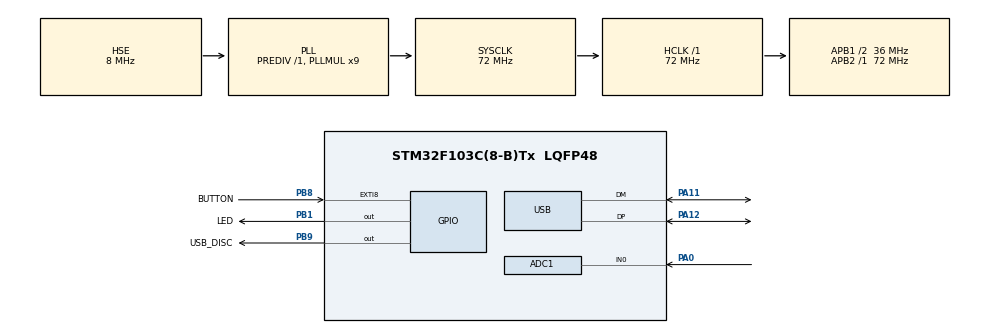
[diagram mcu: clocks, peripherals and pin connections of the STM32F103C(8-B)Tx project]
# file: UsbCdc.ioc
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ADC1.Channel=ADC_CHANNEL_TEMPSENSOR
ADC1.Channel-0\#ChannelRegularConversion=ADC_CHANNEL_0
ADC1.Channel-2\#ChannelRegularConversion=ADC_CHANNEL_VREFINT
ADC1.DiscontinuousConvMode=ENABLE
ADC1.NbrOfConversion=3
ADC1.NbrOfConversionFlag=1
ADC1.Rank-1\#ChannelRegularConversion=2
ADC1.Rank-2\#ChannelRegularConversion=3
ADC1.SamplingTime-0\#ChannelRegularConversion=ADC_SAMPLETIME_239CYCLES_5
ADC1.SamplingTime-1\#ChannelRegularConversion=ADC_SAMPLETIME_239CYCLES_5
ADC1.SamplingTime-2\#ChannelRegularConversion=ADC_SAMPLETIME_239CYCLES_5
ADC1.master=1
Dma.ADC1.0.Direction=DMA_PERIPH_TO_MEMORY
Dma.ADC1.0.Instance=DMA1_Channel1
Dma.ADC1.0.MemDataAlignment=DMA_MDATAALIGN_HALFWORD
Dma.ADC1.0.MemInc=DMA_MINC_ENABLE
Dma.ADC1.0.Mode=DMA_CIRCULAR
Dma.ADC1.0.PeriphDataAlignment=DMA_PDATAALIGN_HALFWORD
Dma.ADC1.0.PeriphInc=DMA_PINC_DISABLE
Dma.ADC1.0.Priority=DMA_PRIORITY_LOW
Dma.Request0=ADC1
Mcu.Family=STM32F1
Mcu.Name=STM32F103C(8-B)Tx
Mcu.Package=LQFP48
NVIC.ADC1_2_IRQn=true\:0\:0\:false
NVIC.DMA1_Channel1_IRQn=true\:0\:0\:false
NVIC.PriorityGroup=NVIC_PRIORITYGROUP_4
NVIC.USB_LP_CAN1_RX0_IRQn=true\:0\:0\:false
PA0-WKUP.Signal=ADCx_IN0
PA11.Mode=Device
PA11.Signal=USB_DM
PA12.Mode=Device
PA12.Signal=USB_DP
PA13.Mode=Serial_Wire
PA13.Signal=SYS_JTMS-SWDIO
PA14.Mode=Serial_Wire
PA14.Signal=SYS_JTCK-SWCLK
PB1.GPIO_Label=LED
PB1.GPIO_ModeDefaultOutputPP=GPIO_MODE_OUTPUT_PP
PB1.GPIO_Speed=GPIO_SPEED_LOW
PB1.Signal=GPIO_Output
PB8.GPIO_Label=BUTTON
PB8.GPIO_ModeDefaultEXTI=GPIO_MODE_IT_RISING_FALLING
PB8.GPIO_PuPd=GPIO_NOPULL
PB8.Signal=GPXTI8
PB9.GPIO_Label=USB_DISC
PB9.GPIO_ModeDefaultOutputPP=GPIO_MODE_OUTPUT_PP
PB9.GPIO_Speed=GPIO_SPEED_LOW
PB9.Signal=GPIO_Output
PD0-OSC_IN.Mode=HSE-External-Oscillator
PD0-OSC_IN.Signal=RCC_OSC_IN
PD1-OSC_OUT.Mode=HSE-External-Oscillator
PD1-OSC_OUT.Signal=RCC_OSC_OUT
ProjectManager.TargetToolchain=EWARM 6.70
RCC.ADCPresc=RCC_ADCPCLK2_DIV6
RCC.AHBFreq_Value=72000000
RCC.APB1CLKDivider=RCC_HCLK_DIV2
RCC.APB1Freq_Value=36000000
RCC.APB1TimFreq_Value=72000000
RCC.APB2Freq_Value=72000000
RCC.APB2TimFreq_Value=72000000
RCC.HCLKFreq_Value=72000000
RCC.HSIState=RCC_HSI_ON
RCC.PLLMUL=RCC_PLL_MUL9
RCC.SYSCLKFreq_VALUE=72000000
RCC.SYSCLKSource=RCC_SYSCLKSOURCE_PLLCLK
RCC.USBFreq_Value=48000000
RCC.USBPrescaler=RCC_USBPLLCLK_DIV1_5
SH.ADCx_IN0.0=ADC1_IN0,IN0
USB_DEVICE.CLASS_NAME-CDC_FS=CDC
USB_DEVICE.USBD_HandleTypeDef-CDC_FS=hUsbDeviceFS
USB_DEVICE.VirtualMode-CDC_FS=Cdc
USB_DEVICE.VirtualModeFS-CDC_FS=Cdc_FS
VP_ADC1_TempSens_Input.Mode=IN-TempSens
VP_ADC1_Vref_Input.Mode=IN-Vrefint
VP_USB_DEVICE_VS_USB_DEVICE_CDC_FS.Mode=CDC_FS

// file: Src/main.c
/**
  ******************************************************************************
  * File Name          : main.c
  * Date               : 14/03/2015 08:37:20
  * Description        : Main program body
  ******************************************************************************
  *
  * COPYRIGHT(c) 2015 STMicroelectronics
  *
  * Redistribution and use in source and binary forms, with or without modification,
  * are permitted provided that the following conditions are met:
  *   1. Redistributions of source code must retain the above copyright notice,
  *      this list of conditions and the following disclaimer.
  *   2. Redistributions in binary form must reproduce the above copyright notice,
  *      this list of conditions and the following disclaimer in the documentation
  *      and/or other materials provided with the distribution.
  *   3. Neither the name of STMicroelectronics nor the names of its contributors
  *      may be used to endorse or promote products derived from this software
  *      without specific prior written permission.
  *
  * THIS SOFTWARE IS PROVIDED BY THE COPYRIGHT HOLDERS AND CONTRIBUTORS "AS IS"
  * AND ANY EXPRESS OR IMPLIED WARRANTIES, INCLUDING, BUT NOT LIMITED TO, THE
  * IMPLIED WARRANTIES OF MERCHANTABILITY AND FITNESS FOR A PARTICULAR PURPOSE ARE
  * DISCLAIMED. IN NO EVENT SHALL THE COPYRIGHT HOLDER OR CONTRIBUTORS BE LIABLE
  * FOR ANY DIRECT, INDIRECT, INCIDENTAL, SPECIAL, EXEMPLARY, OR CONSEQUENTIAL
  * DAMAGES (INCLUDING, BUT NOT LIMITED TO, PROCUREMENT OF SUBSTITUTE GOODS OR
  * SERVICES; LOSS OF USE, DATA, OR PROFITS; OR BUSINESS INTERRUPTION) HOWEVER
  * CAUSED AND ON ANY THEORY OF LIABILITY, WHETHER IN CONTRACT, STRICT LIABILITY,
  * OR TORT (INCLUDING NEGLIGENCE OR OTHERWISE) ARISING IN ANY WAY OUT OF THE USE
  * OF THIS SOFTWARE, EVEN IF ADVISED OF THE POSSIBILITY OF SUCH DAMAGE.
  *
  ******************************************************************************
  */

#include "stm32f1xx_hal.h"
#include "usb_device.h"

/* USER CODE BEGIN Includes */
#include "RingBuffer.h"
#include "main.h"
#include "MasterPacketProc.h"

/* Private typedef -----------------------------------------------------------*/
/* Private define ------------------------------------------------------------*/
#define VDD_APPLI                      ((uint32_t) 3300)   /* Value of analog voltage supply Vdda (unit: mV) */
#define RANGE_12BITS                   ((uint32_t) 4095)   /* Max value with a full range of 12 bits */
#define USERBUTTON_CLICK_COUNT_MAX     ((uint32_t)    4)   /* Maximum value of variable "UserButtonClickCount" */

#define ADCCONVERTEDVALUES_BUFFER_SIZE ((uint32_t)    3)   /* Size of array containing ADC converted values: set to ADC sequencer number of ranks converted, to have a rank in each address */

/* Internal temperature sensor: constants data used for indicative values in  */
/* this example. Refer to device datasheet for min/typ/max values.            */
/* For more accurate values, device should be calibrated on offset and slope  */
/* for application temperature range.                                         */
#define INTERNAL_TEMPSENSOR_V25        ((int32_t)1430)         /* Internal temperature sensor, parameter V25 (unit: mV). Refer to device datasheet for min/typ/max values. */
#define INTERNAL_TEMPSENSOR_AVGSLOPE   ((int32_t)4300)         /* Internal temperature sensor, parameter Avg_Slope (unit: uV/DegCelsius). Refer to device datasheet for min/typ/max values. */                                                               /* This calibration parameter is intended to calculate the actual VDDA from Vrefint ADC measurement. */

/* Private macro -------------------------------------------------------------*/

/**
  * @brief  Computation of temperature (unit: degree Celsius) from the internal
  *         temperature sensor measurement by ADC.
  *         Computation is using temperature sensor standard parameters (refer
  *         to device datasheet).
  *         Computation formula:
  *         Temperature = (VTS - V25)/Avg_Slope + 25
  *         with VTS = temperature sensor voltage
  *              Avg_Slope = temperature sensor slope (unit: uV/DegCelsius)
  *              V25 = temperature sensor @25degC and Vdda 3.3V (unit: mV)
  *         Calculation validity conditioned to settings:
  *          - ADC resolution 12 bits (need to scale value if using a different
  *            resolution).
  *          - Power supply of analog voltage Vdda 3.3V (need to scale value
  *            if using a different analog voltage supply value).
  * @param TS_ADC_DATA: Temperature sensor digital value measured by ADC
  * @retval None
  */
#define COMPUTATION_TEMPERATURE_STD_PARAMS(TS_ADC_DATA)                        \
  ((((int32_t)(INTERNAL_TEMPSENSOR_V25 - (((TS_ADC_DATA) * VDD_APPLI) / RANGE_12BITS)   \
     ) * 1000                                                                  \
    ) / INTERNAL_TEMPSENSOR_AVGSLOPE                                           \
   ) + 25                                                                      \
  )

/**
  * @brief  Computation of voltage (unit: mV) from ADC measurement digital
  *         value on range 12 bits.
  *         Calculation validity conditioned to settings:
  *          - ADC resolution 12 bits (need to scale value if using a different
  *            resolution).
  *          - Power supply of analog voltage Vdda 3.3V (need to scale value
  *            if using a different analog voltage supply value).
  * @param ADC_DATA: Digital value measured by ADC
  * @retval None
  */
#define COMPUTATION_DIGITAL_12BITS_TO_VOLTAGE(ADC_DATA)                        \
  ( (ADC_DATA) * VDD_APPLI / RANGE_12BITS)

/* USER CODE END Includes */

ADC_HandleTypeDef hadc1;
DMA_HandleTypeDef hdma_adc1;

/* USER CODE BEGIN PV */

uint32_t period = 250;

/* Variable containing ADC conversions results */
__IO uint16_t   aADCxConvertedValues[ADCCONVERTEDVALUES_BUFFER_SIZE];

/* Variables for ADC conversions results computation to physical values */
uint16_t   uhADCChannelToDAC_mVolt = 0;
uint16_t   uhVrefInt_mVolt = 0;
int32_t    wTemperature_DegreeCelsius = 0;

/* Variable to report ADC sequencer status */
uint8_t         ubSequenceCompleted = RESET;     /* Set when all ranks of the sequence have been converted */

RingBuffer_t usbRingBuffer;
uint8_t usbRx[UsbRxBufSize];

/* USER CODE END PV */

void SystemClock_Config(void);
static void MX_GPIO_Init(void);
static void MX_DMA_Init(void);
static void MX_ADC1_Init(void);

int main(void)
{

  /* USER CODE BEGIN 1 */
  RB_InitStatic(&usbRingBuffer, usbRx, UsbRxBufSize);

  /* USER CODE END 1 */

  /* MCU Configuration----------------------------------------------------------*/

  /* Reset of all peripherals, Initializes the Flash interface and the Systick. */
  HAL_Init();

  /* Configure the system clock */
  SystemClock_Config();

  /* Initialize all configured peripherals */
  MX_GPIO_Init();
  MX_DMA_Init();
  MX_ADC1_Init();
  MX_USB_DEVICE_Init();

  /* USER CODE BEGIN 2 */

  /* Run the ADC calibration */
  if (HAL_ADCEx_Calibration_Start(&hadc1) != HAL_OK)
  {
    /* Calibration Error */
//    User_Adc_Error_Handler();
  }

  /*## Start ADC conversions #################################################*/

  /* Start ADC conversion on regular group with transfer by DMA */
  if (HAL_ADC_Start_DMA(&hadc1,
                        (uint32_t *)aADCxConvertedValues,
                        ADCCONVERTEDVALUES_BUFFER_SIZE
                       ) != HAL_OK)
  {
    /* Start Error */
//    User_Adc_Error_Handler();
  }

  /* USER CODE END 2 */

  /* USER CODE BEGIN 3 */
  /* Infinite loop */
  while (1)
  {
    HAL_GPIO_TogglePin(GPIOB, GPIO_PIN_1);
    HAL_Delay(period);

    /* Start ADC conversion */
    /* Since sequencer is enabled in discontinuous mode, this will perform    */
    /* the conversion of the next rank in sequencer.                          */
    /* Note: For this example, conversion is triggered by software start,     */
    /*       therefore "HAL_ADC_Start()" must be called for each conversion.  */
    /*       Since DMA transfer has been initiated previously by function     */
    /*       "HAL_ADC_Start_DMA()", this function will keep DMA transfer      */
    /*       active.                                                          */
    HAL_ADC_Start(&hadc1);

    /* Wait for conversion completion before conditional check hereafter */
    HAL_ADC_PollForConversion(&hadc1, 1);

    /* Turn-on/off LED1 in function of ADC sequencer status */
    /* - Turn-off if sequencer has not yet converted all ranks */
    /* - Turn-on if sequencer has converted all ranks */
    if (ubSequenceCompleted != RESET)
    {
      /* Computation of ADC conversions raw data to physical values */
      /* Note: ADC results are transferred into array "aADCxConvertedValues"  */
      /*       in the order of their rank in ADC sequencer.                   */
      uhADCChannelToDAC_mVolt    = COMPUTATION_DIGITAL_12BITS_TO_VOLTAGE(aADCxConvertedValues[0]);
      uhVrefInt_mVolt            = COMPUTATION_DIGITAL_12BITS_TO_VOLTAGE(aADCxConvertedValues[2]);
      wTemperature_DegreeCelsius = COMPUTATION_TEMPERATURE_STD_PARAMS(aADCxConvertedValues[1]);

      (*(float*)&FC_Cache[0x40]) = uhADCChannelToDAC_mVolt;
      (*(float*)&FC_Cache[0x41]) = uhVrefInt_mVolt;
      (*(float*)&FC_Cache[0x42]) = wTemperature_DegreeCelsius;

      /* Reset variable for next loop iteration */
      ubSequenceCompleted = RESET;
    }

    UsbRxProc(&usbRingBuffer);
  }
  /* USER CODE END 3 */

}

/** System Clock Configuration
*/
void SystemClock_Config(void)
{

  RCC_OscInitTypeDef RCC_OscInitStruct;
  RCC_ClkInitTypeDef RCC_ClkInitStruct;
  RCC_PeriphCLKInitTypeDef PeriphClkInit;

  RCC_OscInitStruct.OscillatorType = RCC_OSCILLATORTYPE_HSE;
  RCC_OscInitStruct.HSEState = RCC_HSE_ON;
  RCC_OscInitStruct.HSEPredivValue = RCC_HSE_PREDIV_DIV1;
  RCC_OscInitStruct.PLL.PLLState = RCC_PLL_ON;
  RCC_OscInitStruct.PLL.PLLSource = RCC_PLLSOURCE_HSE;
  RCC_OscInitStruct.PLL.PLLMUL = RCC_PLL_MUL9;
  HAL_RCC_OscConfig(&RCC_OscInitStruct);

  RCC_ClkInitStruct.ClockType = RCC_CLOCKTYPE_SYSCLK|RCC_CLOCKTYPE_PCLK1;
  RCC_ClkInitStruct.SYSCLKSource = RCC_SYSCLKSOURCE_PLLCLK;
  RCC_ClkInitStruct.AHBCLKDivider = RCC_SYSCLK_DIV1;
  RCC_ClkInitStruct.APB1CLKDivider = RCC_HCLK_DIV2;
  RCC_ClkInitStruct.APB2CLKDivider = RCC_HCLK_DIV1;
  HAL_RCC_ClockConfig(&RCC_ClkInitStruct, FLASH_LATENCY_2);

  PeriphClkInit.PeriphClockSelection = RCC_PERIPHCLK_ADC|RCC_PERIPHCLK_USB;
  PeriphClkInit.AdcClockSelection = RCC_ADCPCLK2_DIV6;
  PeriphClkInit.UsbClockSelection = RCC_USBPLLCLK_DIV1_5;
  HAL_RCCEx_PeriphCLKConfig(&PeriphClkInit);

  __HAL_RCC_AFIO_CLK_ENABLE();

}

/* ADC1 init function */
void MX_ADC1_Init(void)
{

  ADC_ChannelConfTypeDef sConfig;

    /**Common config
    */
  hadc1.Instance = ADC1;
  hadc1.Init.ScanConvMode = ENABLE;
  hadc1.Init.ContinuousConvMode = DISABLE;
  hadc1.Init.DiscontinuousConvMode = ENABLE;
  hadc1.Init.NbrOfDiscConversion = 1;
  hadc1.Init.ExternalTrigConv = ADC_SOFTWARE_START;
  hadc1.Init.DataAlign = ADC_DATAALIGN_RIGHT;
  hadc1.Init.NbrOfConversion = 3;
  HAL_ADC_Init(&hadc1);

    /**Configure Regular Channel
    */
  sConfig.Channel = ADC_CHANNEL_0;
  sConfig.Rank = 1;
  sConfig.SamplingTime = ADC_SAMPLETIME_239CYCLES_5;
  HAL_ADC_ConfigChannel(&hadc1, &sConfig);

    /**Configure Regular Channel
    */
  sConfig.Channel = ADC_CHANNEL_TEMPSENSOR;
  sConfig.Rank = 2;
  HAL_ADC_ConfigChannel(&hadc1, &sConfig);

    /**Configure Regular Channel
    */
  sConfig.Channel = ADC_CHANNEL_VREFINT;
  sConfig.Rank = 3;
  HAL_ADC_ConfigChannel(&hadc1, &sConfig);

}

void MX_DMA_Init(void)
{
  /* DMA controller clock enable */
  __HAL_RCC_DMA1_CLK_ENABLE();

  /* DMA interrupt init */
  HAL_NVIC_SetPriority(DMA1_Channel1_IRQn, 0, 0);
  HAL_NVIC_EnableIRQ(DMA1_Channel1_IRQn);

}

/** Configure pins as
        * Analog
        * Input
        * Output
        * EVENT_OUT
        * EXTI
*/
void MX_GPIO_Init(void)
{

  GPIO_InitTypeDef GPIO_InitStruct;

  /* GPIO Ports Clock Enable */
  __GPIOD_CLK_ENABLE();
  __GPIOA_CLK_ENABLE();
  __GPIOB_CLK_ENABLE();

  /*Configure GPIO pins : PB1 PB9 */
  GPIO_InitStruct.Pin = GPIO_PIN_1|GPIO_PIN_9;
  GPIO_InitStruct.Mode = GPIO_MODE_OUTPUT_PP;
  GPIO_InitStruct.Speed = GPIO_SPEED_LOW;
  HAL_GPIO_Init(GPIOB, &GPIO_InitStruct);

  /*Configure GPIO pin : PB8 */
  GPIO_InitStruct.Pin = GPIO_PIN_8;
  GPIO_InitStruct.Mode = GPIO_MODE_IT_RISING_FALLING;
  GPIO_InitStruct.Pull = GPIO_NOPULL;
  HAL_GPIO_Init(GPIOB, &GPIO_InitStruct);

}

/* USER CODE BEGIN 4 */

void HAL_GPIO_EXTI_Callback(uint16_t GPIO_Pin)
{
  if (GPIO_Pin == GPIO_PIN_8)
  {
    period *= 2;
  }
}

/**
  * @brief  Conversion complete callback in non blocking mode
  * @param  AdcHandle : AdcHandle handle
  * @note   This example shows a simple way to report end of conversion
  *         and get conversion result. You can add your own implementation.
  * @retval None
  */
void HAL_ADC_ConvCpltCallback(ADC_HandleTypeDef *AdcHandle)
{
  /* Report to main program that ADC sequencer has reached its end */
  ubSequenceCompleted = SET;
}

/**
  * @brief  Conversion DMA half-transfer callback in non blocking mode
  * @param  hadc: ADC handle
  * @retval None
  */
void HAL_ADC_ConvHalfCpltCallback(ADC_HandleTypeDef* hadc)
{

}

/**
  * @brief  ADC error callback in non blocking mode
  *        (ADC conversion with interruption or transfer by DMA)
  * @param  hadc: ADC handle
  * @retval None
  */
void HAL_ADC_ErrorCallback(ADC_HandleTypeDef *hadc)
{
  /* In case of ADC error, call main error handler */
//  User_Adc_Error_Handler();
}

/* USER CODE END 4 */

/************************ (C) COPYRIGHT STMicroelectronics *****END OF FILE****/
